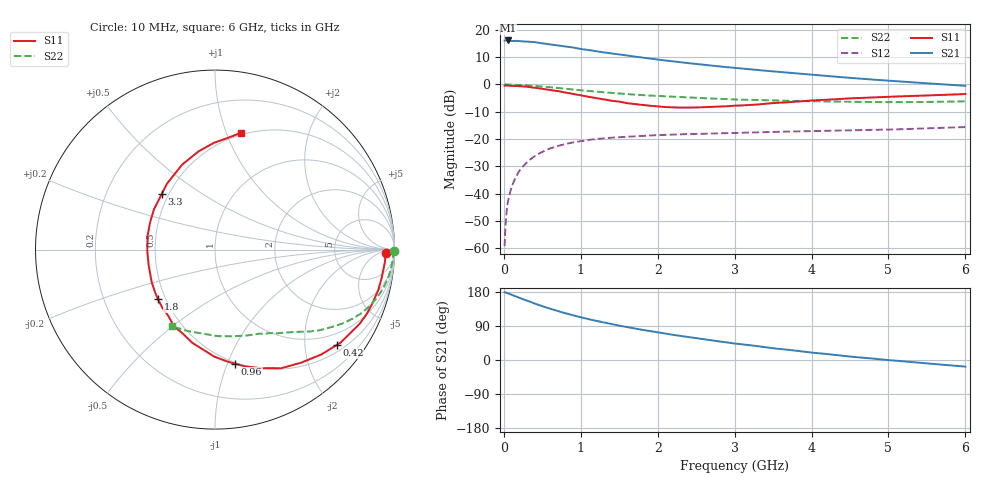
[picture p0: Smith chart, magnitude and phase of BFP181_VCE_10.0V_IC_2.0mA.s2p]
! Infineon Technologies  Discrete & RF Semiconductors
! BFP181
! VCE = 10.0V,  IC =  2.0 mA
! Common Emitter S-Parameters:  Jan 2016
# GHz  S  MA  R  50
!  f  S11  S21  S12  S22
! GHz  MAG  ANG  MAG  ANG  MAG  ANG  MAG  ANG
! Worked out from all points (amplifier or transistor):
!   210 points, 10 MHz to 6 GHz, reference 50 ohm
!   highest |S21| = 16.1 dB at 50 MHz (marker M1)
!   |S21| within 3 dB of that: start of sweep to 977.9 MHz
!   unconditionally stable (mu >= 1): 2.604 GHz to end of sweep
!   at 185 MHz: K = 0.11, MSG = 24.1 dB, |S12| = -32.4 dB
!   at 1.52 GHz: K = 0.66, MSG = 15.1 dB, |S12| = -19.3 dB
!   at 6 GHz: K = 1.15, MAG = 5.2 dB, |S12| = -15.6 dB
!   S11 on the Smith chart (normalised r, x): 10 MHz: 35, -13; 420 MHz: 0.67, -2.75; 960 MHz: 0.49, -1.07; 1.8 GHz: 0.45, -0.30; 3.3 GHz: 0.46, +0.35; 6 GHz: 0.48, +1.13
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0.01  0.9507 -1.1  6.311 178.9  0.0011 80.0  0.9957 -0.4
0.03  0.9496 -2.7  6.345 177.7  0.0039 84.2  0.9928 -1.3
0.05  0.9491 -4.3  6.359 175.9  0.0068 85.8  0.9929 -2.2
0.11  0.9411 -10.1  6.215 171.4  0.0142 82.5  0.9888 -4.8
0.19  0.9287 -17.6  6.217 164.9  0.0248 78.4  0.9805 -8.3
0.3  0.9052 -27.3  6.079 157.0  0.0376 72.5  0.9624 -12.9
0.42  0.8618 -38.1  5.864 147.5  0.0505 66.7  0.9343 -17.5
0.6  0.7921 -52.7  5.418 135.5  0.0673 58.2  0.8881 -23.6
0.7  0.7567 -60.9  5.156 129.2  0.0746 54.4  0.8594 -26.5
0.8  0.7106 -68.5  4.964 123.3  0.0812 50.5  0.8319 -29.1
0.96  0.6456 -80.0  4.551 114.9  0.0897 45.2  0.7882 -32.8
1.02  0.6234 -84.4  4.404 111.8  0.0925 43.5  0.7742 -34.1
1.2  0.56 -97.0  4.041 103.4  0.1001 38.7  0.7373 -37.5
1.4  0.5024 -110.6  3.675 94.9  0.1061 34.7  0.6984 -40.8
1.8  0.421 -139.2  3.091 79.5  0.1145 29.0  0.6361 -46.1
2.02  0.3938 -154.2  2.82 72.4  0.1183 26.1  0.6128 -48.9
2.44  0.3772 178.0  2.413 59.4  0.1239 22.1  0.5731 -54.5
3.1  0.4126 142.1  1.949 41.3  0.1304 17.8  0.5252 -63.6
3.3  0.4294 133.6  1.831 36.5  0.1328 16.8  0.517 -66.6
4.1  0.5155 108.6  1.464 17.7  0.1407 12.7  0.4894 -80.4
5.1  0.6003 89.1  1.143 -1.9  0.1504 10.1  0.4732 -100.4
6  0.6661 77.5  0.942 -17.5  0.1658 7.2  0.49 -119.4
